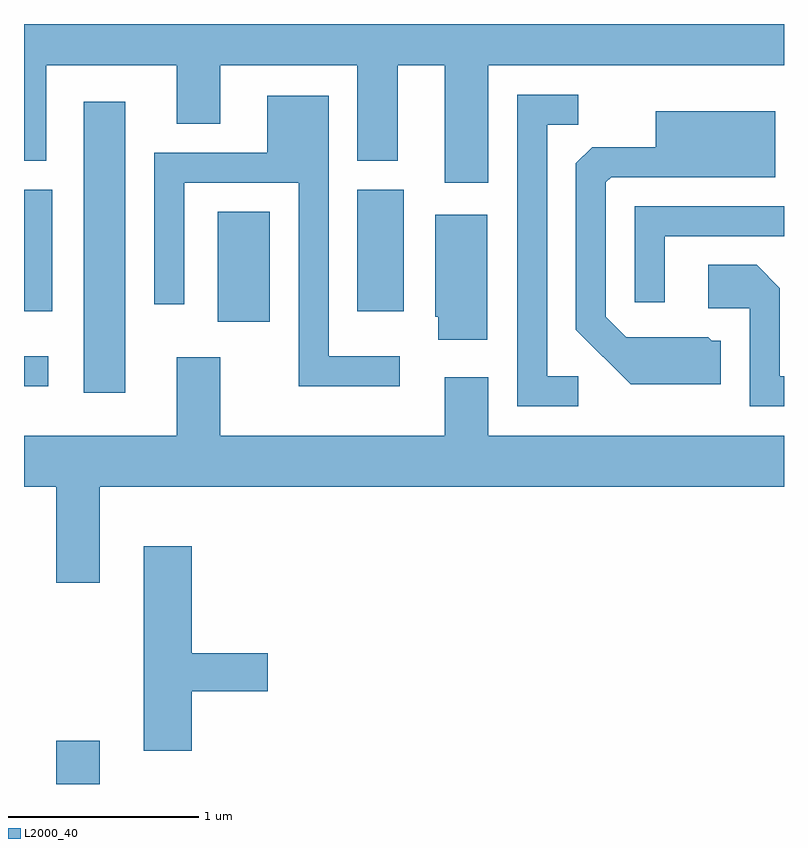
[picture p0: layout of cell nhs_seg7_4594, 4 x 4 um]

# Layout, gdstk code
import gdstk
lib = gdstk.Library(unit=1e-6, precision=1e-09)
def R(c, l, rs):  # rectangles x0, y0, x1, y1
    for r in rs: c.add(gdstk.rectangle(r[:2], r[2:], *l))
def P(c, l, *ps):  # polygons
    for p in ps: c.add(gdstk.Polygon(p, *l))
L2000_40 = (2000, 40)

nhs_seg7_4594 = lib.new_cell('nhs_seg7_4594')
R(nhs_seg7_4594, L2000_40, [(325.781,1768.252,326.009,1768.479), (325.926,1770.311,326.144,1771.844), (325.611,1770.346,325.738,1770.504), (326.631,1770.686,326.904,1771.264), (325.611,1770.741,325.759,1771.379), (327.366,1770.741,327.609,1771.379)])
P(nhs_seg7_4594, L2000_40, [(328.054,1772.036),(329.611,1772.036),(329.611,1772.252),(325.611,1772.252),(325.611,1771.531),(325.729,1771.531),(325.729,1772.036),(326.416,1772.036),(326.416,1771.726),(326.644,1771.726),(326.644,1772.036),(327.366,1772.036),(327.366,1771.531),(327.579,1771.531),(327.579,1772.036),(327.826,1772.036),(327.826,1771.416),(328.054,1771.416)],
  [(328.528,1770.399),(328.364,1770.399),(328.364,1771.721),(328.528,1771.721),(328.528,1771.879),(328.206,1771.879),(328.206,1770.241),(328.528,1770.241)],
  [(327.588,1770.504),(327.214,1770.504),(327.214,1771.874),(326.891,1771.874),(326.891,1771.574),(326.296,1771.574),(326.296,1770.778),(326.454,1770.778),(326.454,1771.416),(327.056,1771.416),(327.056,1770.346),(327.588,1770.346)],
  [(329.279,1770.584),(329.232,1770.584),(329.212,1770.604),(328.782,1770.604),(328.674,1770.712),(328.674,1771.419),(328.702,1771.446),(329.564,1771.446),(329.564,1771.794),(328.936,1771.794),(328.936,1771.604),(328.602,1771.604),(328.516,1771.519),(328.516,1770.644),(328.804,1770.356),(329.279,1770.356)],
  [(328.984,1771.136),(329.611,1771.136),(329.611,1771.294),(328.826,1771.294),(328.826,1770.788),(328.984,1770.788)],
  [(328.049,1771.249),(327.776,1771.249),(327.776,1770.71),(327.791,1770.71),(327.791,1770.591),(328.049,1770.591)],
  [(329.611,1770.399),(329.589,1770.399),(329.589,1770.862),(329.467,1770.984),(329.211,1770.984),(329.211,1770.756),(329.431,1770.756),(329.431,1770.241),(329.611,1770.241)],
  [(326.009,1769.816),(329.611,1769.816),(329.611,1770.084),(328.054,1770.084),(328.054,1770.394),(327.826,1770.394),(327.826,1770.084),(326.644,1770.084),(326.644,1770.499),(326.416,1770.499),(326.416,1770.084),(325.611,1770.084),(325.611,1769.816),(325.781,1769.816),(325.781,1769.311),(326.009,1769.311)],
  [(326.494,1768.741),(326.894,1768.741),(326.894,1768.939),(326.494,1768.939),(326.494,1769.504),(326.241,1769.504),(326.241,1768.426),(326.494,1768.426)])

lib.write_gds('nhs_seg7_4594.gds')
